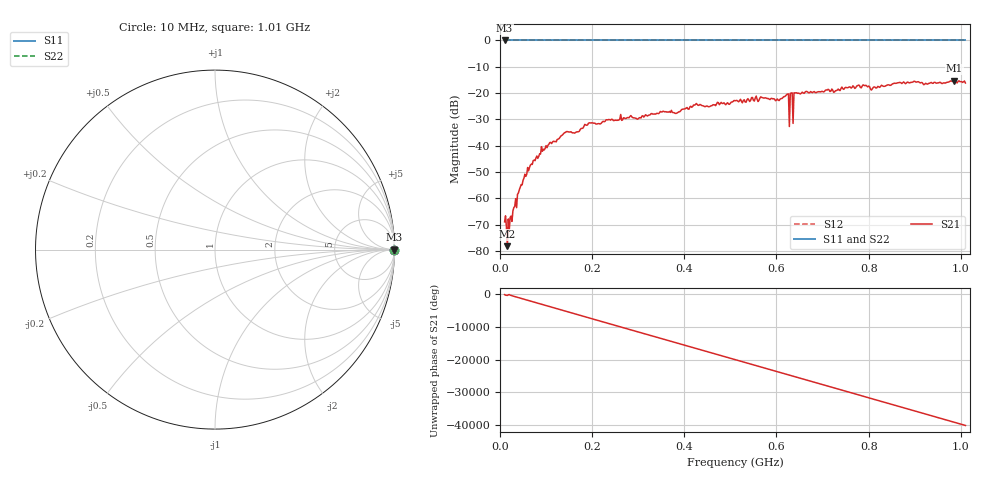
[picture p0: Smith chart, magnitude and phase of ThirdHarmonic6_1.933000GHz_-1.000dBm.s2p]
! 8/16/2025 11:17:51 PM
! C:\ANRITSUVNA\TEMP\TEMP.S2P
! CHANNEL.1
! TR.MEASUREMENT
! RAW.DATA
! RF.CORRECTION.OFF
! AVERAGING.OFF
! IF.BANDWIDTH: 5KHZ
! SWEEPTYPE:  FREQ.SWEEP(Linear)
! Reference Plane Port Info
! PORT:  PORT1  PORT2
! DISTANCE:  0  m  0  m
! TIME:  0  s  0  s
! PHASE.OFFSET:  0  deg.  0  deg.
! LOSS:  0  dB  0  dB
! REF.LOSS:  0  dB  0  dB
! REF.FREQ:  0  Hz  0  Hz
! Power Info
! POWER:  -20  dBm  -20  dBm
! EFF.POWER:  -20  dBm  -20  dBm
! SOURCE.ATTEN:  0  dB  0  dB
! TEST.ATTEN:  0  dB  0  dB
# GHZ S RI R 50.0
! FREQ.GHZ  S11RE  S11IM  S21RE  S21IM  S12RE  S12IM  S22RE  S22IM
!; PortSelection: Port_12
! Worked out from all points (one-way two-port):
!   501 points, 10 MHz to 1.01 GHz, reference 50 ohm
!   highest |S21| = -15.23 dB at 986 MHz (marker M1); lowest = -78.1 dB at 16 MHz (marker M2)
!   lowest |S11| = 0.0 dB at 10 MHz (marker M3)
!   |S11| at or under -10 dB: nowhere
!   |S22| runs from 0.0 to 0.0 dB; largest |S21 - S12| = 1.2
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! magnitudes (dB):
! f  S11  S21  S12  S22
! 10 MHz  0.0  -68.9  0.0  0.0
! 16 MHz  0.0  -78.1  0.0  0.0
! 20 MHz  0.0  -72.5  0.0  0.0
! 50 MHz  0.0  -53.1  0.0  0.0
! 76 MHz  0.0  -45.7  0.0  0.0
! 142 MHz  0.0  -34.9  0.0  0.0
! 178 MHz  0.0  -33.4  0.0  0.0
! 196 MHz  0.0  -31.3  0.0  0.0
! 344 MHz  0.0  -27.8  0.0  0.0
! 510 MHz  0.0  -22.9  0.0  0.0
! 602 MHz  0.0  -22.2  0.0  0.0
! 622 MHz  0.0  -20.6  0.0  0.0
! 624 MHz  0.0  -20.4  0.0  0.0
! 630 MHz  0.0  -20.1  0.0  0.0
! 632 MHz  0.0  -20.0  0.0  0.0
! 634 MHz  0.0  -19.9  0.0  0.0
! 640 MHz  0.0  -19.9  0.0  0.0
! 642 MHz  0.0  -19.9  0.0  0.0
! 678 MHz  0.0  -19.8  0.0  0.0
! 844 MHz  0.0  -16.8  0.0  0.0
! 986 MHz  0.0  -15.2  0.0  0.0
! 1.01 GHz  0.0  -16.2  0.0  0.0
